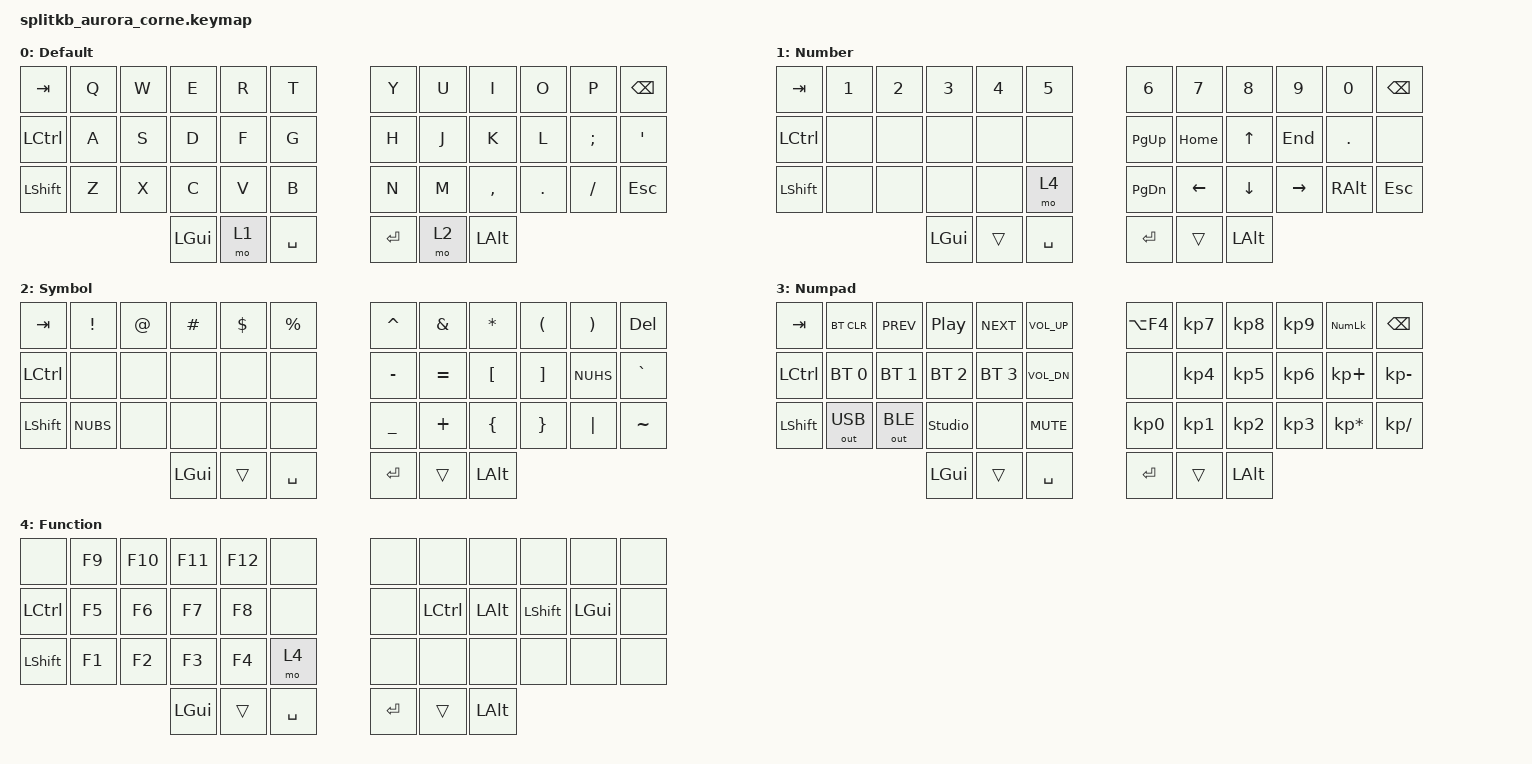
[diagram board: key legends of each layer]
/*
 * Copyright (c) 2020 The ZMK Contributors
 *
 * SPDX-License-Identifier: MIT
 */

#include <behaviors.dtsi>
#include <dt-bindings/zmk/keys.h>
#include <dt-bindings/zmk/bt.h>
#include <dt-bindings/zmk/outputs.h>

/ {
    conditional_layers {
        compatible = "zmk,conditional-layers";
        tri_layer {
            if-layers = <1 2>;
            then-layer = <3>;
        };
    };
};

/ {
        keymap {
                compatible = "zmk,keymap";

                default_layer {
                        label = "Default";
// -----------------------------------------------------------------------------------------
// |  TAB |  Q  |  W  |  E  |  R  |  T  |   |  Y  |  U   |  I  |  O  |  P  | BKSP |
// | CTRL |  A  |  S  |  D  |  F  |  G  |   |  H  |  J   |  K  |  L  |  ;  |  '   |
// | SHFT |  Z  |  X  |  C  |  V  |  B  |   |  N  |  M   |  ,  |  .  |  /  | ESC  |
//                    | GUI | L_N | SPC |   | ENT | L_S  | ALT |
                        bindings = <
   &kp TAB   &kp Q &kp W &kp E &kp R &kp T   &kp Y   &kp U &kp I     &kp O   &kp P    &kp BSPC
   &kp LCTRL &kp A &kp S &kp D &kp F &kp G   &kp H   &kp J &kp K     &kp L   &kp SEMI &kp SQT
   &kp LSHFT &kp Z &kp X &kp C &kp V &kp B   &kp N   &kp M &kp COMMA &kp DOT &kp FSLH &kp ESC
                  &kp LGUI &mo 1 &kp SPACE   &kp RET &mo 2 &kp LALT
                        >;
                };

                number_layer {
                        label = "Number";
// -----------------------------------------------------------------------------------------
// |  TAB |  1  |  2  |  3  |  4  |  5  |   |  6  |  7  |  8  |  9  |  0   | BKSP |
// | CTRL |     |     |     |     |     |   | PUP | HOM |  UP | END |  .   |      |
// | SHFT |     |     |     |     | L_F |   | PDN | LFT | DWN | RGT | RALT |      |
//                    | GUI |     | SPC |   | ENT | L_P | ALT |
                        bindings = <
   &kp TAB   &kp N1 &kp N2 &kp N3 &kp N4 &kp N5   &kp N6    &kp N7   &kp N8   &kp N9    &kp N0   &kp BSPC
   &kp LCTRL &none  &none  &none  &none  &none    &kp PG_UP &kp HOME &kp UP   &kp END   &kp DOT  &none
   &kp LSHFT &none  &none  &none  &none  &mo 4    &kp PG_DN &kp LEFT &kp DOWN &kp RIGHT &kp RALT &kp ESC
                     &kp LGUI &trans &kp SPACE    &kp RET   &trans   &kp LALT
                        >;
                };

                symbol_layer {
                        label = "Symbol";
// -----------------------------------------------------------------------------------------
// |  TAB |  !  |  @  |  #  |  $  |  %  |   |  ^  |  &  |  *  |  (  |  )  | DEL |
// | CTRL |     |     |     |     |     |   |  -  |  =  |  [  |  ]  |  \  |  `  |
// | SHFT |     |     |     |     |     |   |  _  |  +  |  {  |  }  | "|" |  ~  |
//                    | GUI | L_P | SPC |   | ENT |     | ALT |
                        bindings = <
   &kp TAB   &kp EXCL &kp AT &kp HASH &kp DLLR &kp PRCNT   &kp CARET &kp AMPS  &kp ASTRK &kp LPAR &kp RPAR &kp DEL
   &kp LCTRL &none    &none  &none    &none    &none       &kp MINUS &kp EQUAL &kp LBKT  &kp RBKT &kp NUHS &kp GRAVE
   &kp LSHFT &kp NUBS &none  &none    &none    &none       &kp UNDER &kp PLUS  &kp LBRC  &kp RBRC &kp PIPE &kp TILDE
                             &kp LGUI &trans   &kp SPACE   &kp RET   &trans    &kp LALT
                        >;
                };

                numpad_layer {
                        label = "Numpad";
// -----------------------------------------------------------------------------------------
// |  TAB | BCL | PRV | PPS | NXT | VUP |   |     |  7  |  8  |  9  | NLCK | BKSP |
// | CTRL | BT0 | BT1 | BT2 | BT3 | VDN |   |     |  4  |  5  |  6  |   +  |   -  |
// | SHFT | USB | BLE |     |     | MUT |   |  0  |  1  |  2  |  3  |   *  |   /  |
//                    |     |     | SPC |   | ENT |     | ALT |

                        bindings = <
   &kp TAB   &bt BT_CLR   &kp C_PREV   &kp C_PP     &kp C_NEXT   &kp C_VOL_UP   &kp LA(F4) &kp KP_N7  &kp KP_N8 &kp KP_N9 &kp KP_NUM      &kp BSPC
   &kp LCTRL &bt BT_SEL 0 &bt BT_SEL 1 &bt BT_SEL 2 &bt BT_SEL 3 &kp C_VOL_DN   &none      &kp KP_N4  &kp KP_N5 &kp KP_N6 &kp KP_PLUS     &kp KP_MINUS
   &kp LSHFT &out OUT_USB &out OUT_BLE &studio_unlock  &none     &kp C_MUTE     &kp KP_N0  &kp KP_N1  &kp KP_N2 &kp KP_N3 &kp KP_MULTIPLY &kp KP_DIVIDE
                                       &kp LGUI     &trans       &kp SPACE      &kp RET    &trans     &kp LALT
                        >;
                };

                function_layer {
                        label = "Function";
// -----------------------------------------------------------------------------------------
// |      | F9  | F10 | F11 | F12 |     |   |     |      |     |      |     |     |
// | CTRL | F5  | F6  | F7  | F8  |     |   |     | CTRL | ALT | SHFT | GUI |     |
// | SHFT | F1  | F2  | F3  | F4  |     |   |     |      |     |      |     |     |
//                    | GUI |     | SPC |   | ENT |      | ALT |

                        bindings = <
   &none     &kp F9  &kp F10 &kp F11 &kp F12 &none      &none   &none     &none    &none     &none    &none
   &kp LCTRL &kp F5  &kp F6  &kp F7  &kp F8  &none      &none   &kp LCTRL &kp LALT &kp LSHFT &kp LGUI &none
   &kp LSHFT &kp F1  &kp F2  &kp F3  &kp F4  &mo 4      &none   &none     &none    &none     &none    &none
                            &kp LGUI &trans  &kp SPACE  &kp RET &trans    &kp LALT
                        >;
                };
        };
};
